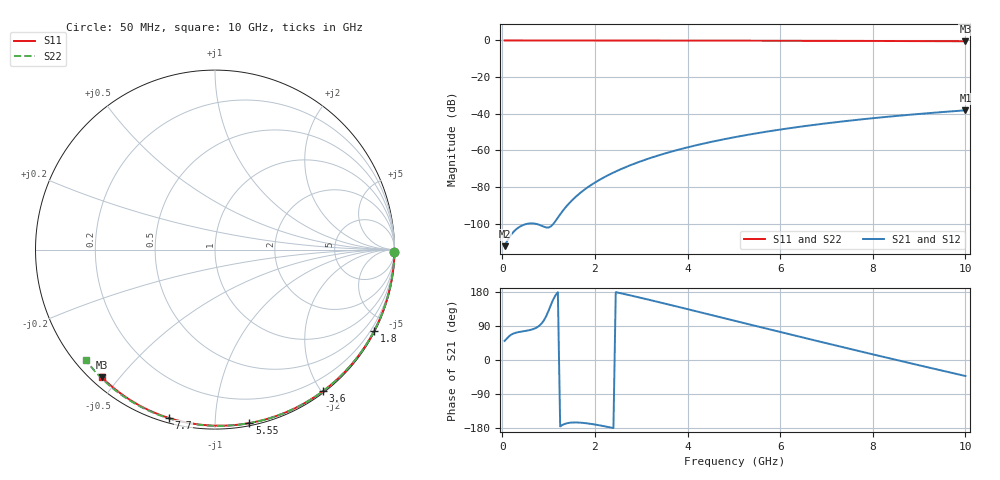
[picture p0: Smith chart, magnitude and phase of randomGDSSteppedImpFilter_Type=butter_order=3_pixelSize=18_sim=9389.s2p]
! freq	dB(S11)	phase(S11)	dB(S12)	phase(S12)
!  dB(S21)	phase(S21)	dB(S22)	phase(S22)
!S-par simulation data
#  GHz  S  DB  R 50
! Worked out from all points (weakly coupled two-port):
!   200 points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, 50 MHz to 10 GHz, reference 50 ohm
!   highest |S21| = -38.11 dB at 10 GHz (marker M1); lowest = -112.2 dB at 50 MHz (marker M2)
!   lowest |S11| = -0.4 dB at 10 GHz (marker M3), VSWR 39.13, Z = 1.53 - j22.4 ohm
!   |S11| at or under -10 dB: nowhere
!   |S22| runs from -0.5 to 0.0 dB; largest |S21 - S12| = 0
!   S11 on the Smith chart (normalised r, x): 50 MHz: open; 1.8 GHz: 0.04, -4.17; 3.6 GHz: 0.02, -2.02; 5.55 GHz: 0.02, -1.22; 7.7 GHz: 0.02, -0.76; 10 GHz: 0.03, -0.45
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0.05  -0.00 -0.8  -112.19 50.4  -112.19 50.4  -0.00 -0.8
0.45  -0.01 -6.8  -100.66 75.8  -100.66 75.8  -0.01 -7.3
0.9  -0.02 -13.6  -101.60 104.9  -101.60 104.9  -0.02 -14.5
1.75  -0.03 -26.3  -81.83 -166.0  -81.83 -166.0  -0.04 -27.9
1.8  -0.03 -27.0  -80.88 -166.7  -80.88 -166.7  -0.04 -28.7
1.85  -0.04 -27.7  -79.99 -167.5  -79.99 -167.5  -0.04 -29.4
2  -0.04 -29.9  -77.51 -170.2  -77.51 -170.2  -0.04 -31.8
2.15  -0.04 -32.1  -75.29 -173.5  -75.29 -173.5  -0.04 -34.1
2.35  -0.04 -35.0  -72.66 -178.4  -72.66 -178.4  -0.05 -37.2
2.55  -0.05 -37.9  -70.31 176.4  -70.31 176.4  -0.05 -40.2
2.95  -0.06 -43.6  -66.27 165.3  -66.27 165.3  -0.06 -46.3
3.4  -0.07 -50.0  -62.48 152.1  -62.48 152.1  -0.07 -53.0
3.6  -0.07 -52.8  -60.99 146.2  -60.99 146.2  -0.08 -55.9
4.3  -0.09 -62.4  -56.49 125.2  -56.49 125.2  -0.09 -66.1
5.05  -0.11 -72.3  -52.60 102.6  -52.60 102.6  -0.12 -76.6
5.55  -0.13 -78.8  -50.38 87.5  -50.38 87.5  -0.14 -83.4
6.1  -0.15 -85.8  -48.22 71.0  -48.22 71.0  -0.16 -90.7
6.7  -0.18 -93.2  -46.14 53.1  -46.14 53.1  -0.19 -98.6
7.7  -0.24 -105.3  -43.18 23.7  -43.18 23.7  -0.25 -111.2
8.35  -0.29 -112.9  -41.54 4.7  -41.54 4.7  -0.31 -119.3
9.2  -0.36 -122.6  -39.66 -19.6  -39.66 -19.6  -0.38 -129.7
10  -0.44 -131.7  -38.11 -42.2  -38.11 -42.2  -0.47 -139.4
